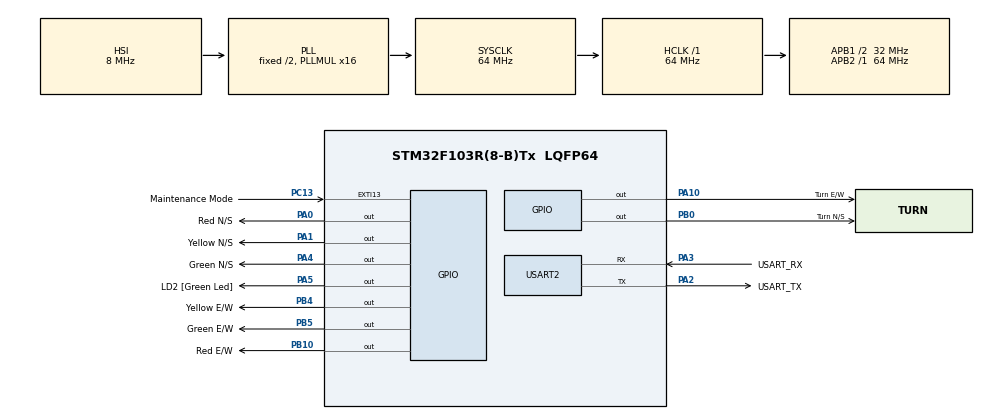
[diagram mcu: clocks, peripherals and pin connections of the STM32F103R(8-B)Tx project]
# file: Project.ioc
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FREERTOS.Queues01=CLI_Queue,1,uint8_t,0,Dynamic,NULL,NULL;ped_Queue,4,uint8_t,0,Dynamic,NULL,NULL;Maintenance_Queue,1,uint8_t,0,Dynamic,NULL,NULL;Emergency_Queue,1,uint8_t,0,Dynamic,NULL,NULL
FREERTOS.Tasks01=CLI_Input,24,128,Start_CLI_Input,Default,NULL,Dynamic,NULL,NULL;Change_Light,32,128,Start_Change_Light,Default,NULL,Dynamic,NULL,NULL;CLI_Update,8,128,Start_CLI_Update,Default,NULL,Dynamic,NULL,NULL
Mcu.Family=STM32F1
Mcu.Name=STM32F103R(8-B)Tx
Mcu.Package=LQFP64
NVIC.EXTI15_10_IRQn=true\:5\:0\:false\:false\:true\:true\:true\:true\:true
NVIC.PriorityGroup=NVIC_PRIORITYGROUP_4
NVIC.TIM4_IRQn=true\:15\:0\:false\:false\:true\:false\:false\:true\:true
NVIC.TimeBase=TIM4_IRQn
NVIC.TimeBaseIP=TIM4
NVIC.USART2_IRQn=true\:5\:0\:false\:false\:true\:true\:true\:true\:true
PA0-WKUP.GPIO_Label=Red N/S
PA0-WKUP.Signal=GPIO_Output
PA1.GPIO_Label=Yellow N/S
PA1.Signal=GPIO_Output
PA10.GPIO_Label=Turn E/W
PA10.Signal=GPIO_Output
PA13.GPIO_Label=TMS
PA13.Mode=Serial_Wire
PA13.Signal=SYS_JTMS-SWDIO
PA14.GPIO_Label=TCK
PA14.Mode=Serial_Wire
PA14.Signal=SYS_JTCK-SWCLK
PA2.GPIO_Label=USART_TX
PA2.GPIO_Mode=GPIO_MODE_AF_PP
PA2.GPIO_PuPd=GPIO_NOPULL
PA2.GPIO_Speed=GPIO_SPEED_FREQ_LOW
PA2.Mode=Asynchronous
PA2.Signal=USART2_TX
PA3.GPIO_Label=USART_RX
PA3.GPIO_Mode=GPIO_MODE_AF_PP
PA3.GPIO_PuPd=GPIO_NOPULL
PA3.GPIO_Speed=GPIO_SPEED_FREQ_LOW
PA3.Mode=Asynchronous
PA3.Signal=USART2_RX
PA4.GPIO_Label=Green N/S
PA4.Signal=GPIO_Output
PA5.GPIO_Label=LD2 [Green Led]
PA5.GPIO_ModeDefaultOutputPP=GPIO_MODE_OUTPUT_PP
PA5.GPIO_PuPd=GPIO_NOPULL
PA5.GPIO_Speed=GPIO_SPEED_FREQ_LOW
PA5.Signal=GPIO_Output
PB0.GPIO_Label=Turn N/S
PB0.Signal=GPIO_Output
PB10.GPIO_Label=Red E/W
PB10.Signal=GPIO_Output
PB3.GPIO_Label=SWO
PB3.Signal=SYS_JTDO-TRACESWO
PB4.GPIO_Label=Yellow E/W
PB4.Signal=GPIO_Output
PB5.GPIO_Label=Green E/W
PB5.Signal=GPIO_Output
PC13-TAMPER-RTC.GPIO_Label=Maintenance Mode
PC13-TAMPER-RTC.GPIO_ModeDefaultEXTI=GPIO_MODE_IT_FALLING
PC13-TAMPER-RTC.Signal=GPXTI13
PC14-OSC32_IN.Mode=LSE-External-Oscillator
PC14-OSC32_IN.Signal=RCC_OSC32_IN
PC15-OSC32_OUT.Mode=LSE-External-Oscillator
PC15-OSC32_OUT.Signal=RCC_OSC32_OUT
PD0-OSC_IN.Mode=HSE-External-Clock-Source
PD0-OSC_IN.Signal=RCC_OSC_IN
PD1-OSC_OUT.Mode=HSE-External-Clock-Source
PD1-OSC_OUT.Signal=RCC_OSC_OUT
ProjectManager.HeapSize=0x200
ProjectManager.StackSize=0x400
ProjectManager.TargetToolchain=STM32CubeIDE
RCC.AHBFreq_Value=64000000
RCC.APB1CLKDivider=RCC_HCLK_DIV2
RCC.APB1Freq_Value=32000000
RCC.APB1TimFreq_Value=64000000
RCC.APB2Freq_Value=64000000
RCC.APB2TimFreq_Value=64000000
RCC.HCLKFreq_Value=64000000
RCC.PLLMUL=RCC_PLL_MUL16
RCC.RTCClockSelection=RCC_RTCCLKSOURCE_LSE
RCC.SYSCLKFreq_VALUE=64000000
RCC.SYSCLKSource=RCC_SYSCLKSOURCE_PLLCLK
RCC.USBFreq_Value=64000000
USART2.VirtualMode=VM_ASYNC
VP_FREERTOS_VS_CMSIS_V2.Mode=CMSIS_V2
VP_SYS_VS_tim4.Mode=TIM4
board=NUCLEO-F103RB

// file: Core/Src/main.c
/* USER CODE BEGIN Header */
/**
******************************************************************************
* @file           : main.c
* @brief          : Main program body
* Author: 		  : Quinn Maloney
* SID:			  : 200431628
* Demo:			  : https://www.youtube.com/watch?v=MVhOJU_bmV4
* 					Can also be found in ReadMe.txt and on URCourses.
******************************************************************************
* @attention
*
* Copyright (c) 2024 STMicroelectronics.
* All rights reserved.
*
* This software is licensed under terms that can be found in the LICENSE file
* in the root directory of this software component.
* If no LICENSE file comes with this software, it is provided AS-IS.
*
******************************************************************************
*/
/* USER CODE END Header */
#include "main.h"
#include "cmsis_os.h"

/* USER CODE BEGIN Includes */
#include "CLI.h"
#include "lights.h"

/* USER CODE END Includes */

UART_HandleTypeDef huart2;

/* Definitions for CLI_Input */
osThreadId_t CLI_InputHandle;
const osThreadAttr_t CLI_Input_attributes = {
  .name = "CLI_Input",
  .stack_size = 128 * 4,
  .priority = (osPriority_t) osPriorityNormal,
};
/* Definitions for Change_Light */
osThreadId_t Change_LightHandle;
const osThreadAttr_t Change_Light_attributes = {
  .name = "Change_Light",
  .stack_size = 128 * 4,
  .priority = (osPriority_t) osPriorityAboveNormal,
};
/* Definitions for CLI_Update */
osThreadId_t CLI_UpdateHandle;
const osThreadAttr_t CLI_Update_attributes = {
  .name = "CLI_Update",
  .stack_size = 128 * 4,
  .priority = (osPriority_t) osPriorityLow,
};
/* Definitions for CLI_Queue */
osMessageQueueId_t CLI_QueueHandle;
const osMessageQueueAttr_t CLI_Queue_attributes = {
  .name = "CLI_Queue"
};
/* Definitions for ped_Queue */
osMessageQueueId_t ped_QueueHandle;
const osMessageQueueAttr_t ped_Queue_attributes = {
  .name = "ped_Queue"
};
/* Definitions for Maintenance_Queue */
osMessageQueueId_t Maintenance_QueueHandle;
const osMessageQueueAttr_t Maintenance_Queue_attributes = {
  .name = "Maintenance_Queue"
};
/* Definitions for Emergency_Queue */
osMessageQueueId_t Emergency_QueueHandle;
const osMessageQueueAttr_t Emergency_Queue_attributes = {
  .name = "Emergency_Queue"
};

void SystemClock_Config(void);
static void MX_GPIO_Init(void);
static void MX_USART2_UART_Init(void);
void Start_CLI_Input(void *argument);
void Start_Change_Light(void *argument);
void Start_CLI_Update(void *argument);

/* USER CODE BEGIN PFP */

uint8_t cliRXChar;
uint8_t cliBufferRX[30];
int counter = 0;
uint8_t maintenance = 0;

/* USER CODE END PFP */

int main(void)
{

  /* MCU Configuration--------------------------------------------------------*/

  /* Reset of all peripherals, Initializes the Flash interface and the Systick. */
  HAL_Init();

  /* Configure the system clock */
  SystemClock_Config();

  /* Initialize all configured peripherals */
  MX_GPIO_Init();
  MX_USART2_UART_Init();
  /* USER CODE BEGIN 2 */

  // this initializes the program. It prepares the usart buffer to receive characters and prints to the terminal to set it up for use
  HAL_UART_Receive_IT (&huart2, &cliRXChar, 1);
  char newLineMessage[] = "Enter a command: ";
  char scrollBox[] = "\x1b[5;r";
  char initialMoveCursor[] = "\x1b[5;0H";

  for(int x = 0; x < sizeof initialMoveCursor; x++)
  	  HAL_UART_Transmit(&huart2, (unsigned char *)&initialMoveCursor[x], 1, 100);
  for(int x = 0; x < sizeof scrollBox; x++)
  	  HAL_UART_Transmit(&huart2, (unsigned char *)&scrollBox[x], 1, 100);
  for(int x = 0; x < sizeof initialMoveCursor; x++)
	  HAL_UART_Transmit(&huart2, (unsigned char *)&initialMoveCursor[x], 1, 100);
  for(int x = 0; x < sizeof newLineMessage; x++)
  	  HAL_UART_Transmit(&huart2, (unsigned char *)&newLineMessage[x], 1, 100);
  /* USER CODE END 2 */

  /* Init scheduler */
  osKernelInitialize();

  /* Create the queue(s) */
  /* creation of CLI_Queue */
  CLI_QueueHandle = osMessageQueueNew (1, sizeof(uint8_t), &CLI_Queue_attributes);

  /* creation of ped_Queue */
  ped_QueueHandle = osMessageQueueNew (4, sizeof(uint8_t), &ped_Queue_attributes);

  /* creation of Maintenance_Queue */
  Maintenance_QueueHandle = osMessageQueueNew (1, sizeof(uint8_t), &Maintenance_Queue_attributes);

  /* creation of Emergency_Queue */
  Emergency_QueueHandle = osMessageQueueNew (1, sizeof(uint8_t), &Emergency_Queue_attributes);

  /* Create the thread(s) */
  /* creation of CLI_Input */
  CLI_InputHandle = osThreadNew(Start_CLI_Input, NULL, &CLI_Input_attributes);

  /* creation of Change_Light */
  Change_LightHandle = osThreadNew(Start_Change_Light, NULL, &Change_Light_attributes);

  /* creation of CLI_Update */
  CLI_UpdateHandle = osThreadNew(Start_CLI_Update, NULL, &CLI_Update_attributes);

  /* Start scheduler */
  osKernelStart();

  /* We should never get here as control is now taken by the scheduler */

  /* Infinite loop */
  while (1)
  {

  }
}

void SystemClock_Config(void)
{
  RCC_OscInitTypeDef RCC_OscInitStruct = {0};
  RCC_ClkInitTypeDef RCC_ClkInitStruct = {0};

  /** Initializes the RCC Oscillators according to the specified parameters
  * in the RCC_OscInitTypeDef structure.
  */
  RCC_OscInitStruct.OscillatorType = RCC_OSCILLATORTYPE_HSI;
  RCC_OscInitStruct.HSIState = RCC_HSI_ON;
  RCC_OscInitStruct.HSICalibrationValue = RCC_HSICALIBRATION_DEFAULT;
  RCC_OscInitStruct.PLL.PLLState = RCC_PLL_ON;
  RCC_OscInitStruct.PLL.PLLSource = RCC_PLLSOURCE_HSI_DIV2;
  RCC_OscInitStruct.PLL.PLLMUL = RCC_PLL_MUL16;
  if (HAL_RCC_OscConfig(&RCC_OscInitStruct) != HAL_OK)
  {
    Error_Handler();
  }

  /** Initializes the CPU, AHB and APB buses clocks
  */
  RCC_ClkInitStruct.ClockType = RCC_CLOCKTYPE_HCLK|RCC_CLOCKTYPE_SYSCLK
                              |RCC_CLOCKTYPE_PCLK1|RCC_CLOCKTYPE_PCLK2;
  RCC_ClkInitStruct.SYSCLKSource = RCC_SYSCLKSOURCE_PLLCLK;
  RCC_ClkInitStruct.AHBCLKDivider = RCC_SYSCLK_DIV1;
  RCC_ClkInitStruct.APB1CLKDivider = RCC_HCLK_DIV2;
  RCC_ClkInitStruct.APB2CLKDivider = RCC_HCLK_DIV1;

  if (HAL_RCC_ClockConfig(&RCC_ClkInitStruct, FLASH_LATENCY_2) != HAL_OK)
  {
    Error_Handler();
  }
}

static void MX_USART2_UART_Init(void)
{

  huart2.Instance = USART2;
  huart2.Init.BaudRate = 115200;
  huart2.Init.WordLength = UART_WORDLENGTH_8B;
  huart2.Init.StopBits = UART_STOPBITS_1;
  huart2.Init.Parity = UART_PARITY_NONE;
  huart2.Init.Mode = UART_MODE_TX_RX;
  huart2.Init.HwFlowCtl = UART_HWCONTROL_NONE;
  huart2.Init.OverSampling = UART_OVERSAMPLING_16;
  if (HAL_UART_Init(&huart2) != HAL_OK)
  {
    Error_Handler();
  }

}

static void MX_GPIO_Init(void)
{
  GPIO_InitTypeDef GPIO_InitStruct = {0};

  /* GPIO Ports Clock Enable */
  __HAL_RCC_GPIOC_CLK_ENABLE();
  __HAL_RCC_GPIOD_CLK_ENABLE();
  __HAL_RCC_GPIOA_CLK_ENABLE();
  __HAL_RCC_GPIOB_CLK_ENABLE();

  /*Configure GPIO pin Output Level */
  HAL_GPIO_WritePin(GPIOA, Red_N_S_Pin|Yellow_N_S_Pin|Green_N_S_Pin|LD2_Pin
                          |Turn_E_W_Pin, GPIO_PIN_RESET);

  /*Configure GPIO pin Output Level */
  HAL_GPIO_WritePin(GPIOB, Turn_N_S_Pin|Red_E_W_Pin|Yellow_E_W_Pin|Green_E_W_Pin, GPIO_PIN_RESET);

  /*Configure GPIO pin : Maintenance_Mode_Pin */
  GPIO_InitStruct.Pin = Maintenance_Mode_Pin;
  GPIO_InitStruct.Mode = GPIO_MODE_IT_FALLING;
  GPIO_InitStruct.Pull = GPIO_NOPULL;
  HAL_GPIO_Init(Maintenance_Mode_GPIO_Port, &GPIO_InitStruct);

  /*Configure GPIO pins : Red_N_S_Pin Yellow_N_S_Pin Green_N_S_Pin LD2_Pin
                           Turn_E_W_Pin */
  GPIO_InitStruct.Pin = Red_N_S_Pin|Yellow_N_S_Pin|Green_N_S_Pin|LD2_Pin
                          |Turn_E_W_Pin;
  GPIO_InitStruct.Mode = GPIO_MODE_OUTPUT_PP;
  GPIO_InitStruct.Pull = GPIO_NOPULL;
  GPIO_InitStruct.Speed = GPIO_SPEED_FREQ_LOW;
  HAL_GPIO_Init(GPIOA, &GPIO_InitStruct);

  /*Configure GPIO pins : Turn_N_S_Pin Red_E_W_Pin Yellow_E_W_Pin Green_E_W_Pin */
  GPIO_InitStruct.Pin = Turn_N_S_Pin|Red_E_W_Pin|Yellow_E_W_Pin|Green_E_W_Pin;
  GPIO_InitStruct.Mode = GPIO_MODE_OUTPUT_PP;
  GPIO_InitStruct.Pull = GPIO_NOPULL;
  GPIO_InitStruct.Speed = GPIO_SPEED_FREQ_LOW;
  HAL_GPIO_Init(GPIOB, &GPIO_InitStruct);

  /* EXTI interrupt init*/
  HAL_NVIC_SetPriority(EXTI15_10_IRQn, 5, 0);
  HAL_NVIC_EnableIRQ(EXTI15_10_IRQn);

}

/* USER CODE BEGIN 4 */
/**
* @brief  Function implementing the USART interrupt. It stores the character received in a buffer.
* @param  husart: the pin used in this case HUSART2
* @retval None
*/
void HAL_UART_RxCpltCallback(UART_HandleTypeDef * husart)
{
	while((HAL_UART_GetState(&huart2)&HAL_UART_STATE_BUSY_RX)==HAL_UART_STATE_BUSY_RX);
	//Listen for the interrupt and buffer one character at a time.
	HAL_UART_Receive_IT(&huart2, &cliRXChar ,1);
}

/**
* @brief  Function implementing the GPIOC pin 13 interrupt (user button). It sends a value to the maintenance
* 		queue to notify the Change_Light thread.
* @param  GPIO_Pin: the in causing the interrupt. In this case GPIOC pin 13
* @retval None
*/
void HAL_GPIO_EXTI_Callback(uint16_t GPIO_Pin)
{
	if(GPIO_Pin == GPIO_PIN_13)
	{
		if(maintenance == 0)
		{
			maintenance = 1;
			xQueueGenericSendFromISR(Maintenance_QueueHandle, &maintenance, pdTRUE, NULL);
		}
		else
		{
			maintenance = 0;
			xQueueGenericSendFromISR(Maintenance_QueueHandle, &maintenance, pdTRUE, NULL);
		}
	}
}

/* USER CODE END 4 */

/* USER CODE BEGIN Header_Start_CLI_Input */
/**
* @brief  Function implementing the CLI_Input thread. It is responsible for updating the terminal with the user
* 		input and handling it accordingly. When a pedestrian event is requested it puts that in the ped queue
* 		and when an emergency vehicle is requested it puts that in the Emergency queue. This queue is used by
* 		the Change_Light thread.
* @param  argument: Not used
* @retval None
*/
/* USER CODE END Header_Start_CLI_Input */
void Start_CLI_Input(void *argument)
{
  /* USER CODE BEGIN 5 */
  uint8_t input = 0;
  /* Infinite loop */
  for(;;)
  {
	if(cliRXChar != '\0')
	{
		input = CLI_Receive();
		if(input == 1 || input == 2)
			osMessageQueuePut(ped_QueueHandle, &input, 0, 500);
		else if(input == 3 || input == 4)
			osMessageQueuePut(Emergency_QueueHandle, &input, 0, 500);
	}
    osDelay(100);
  }
  /* USER CODE END 5 */
}

/* USER CODE BEGIN Header_Start_Change_Light */
/**
* @brief Function implementing the Change_Light thread. This is responsible for changing the light state. This
* 		 includes both updating the internal state and changing the physical lights to match the state. It does
* 		 not update the CLI state however. For that it sends a message to the CLI queue where it is handled by
* 		 the CLI_Update thread. Emergency state is also checked in this thread where the states are frozen
* 		 temporarily.
* @param argument: Not used
* @retval None
*/
/* USER CODE END Header_Start_Change_Light */
void Start_Change_Light(void *argument)
{
  /* USER CODE BEGIN Start_Change_Light */
  uint8_t lightState = 0;
  uint8_t newLightState = 0;
  uint16_t lightCounter = 0;
  uint8_t pedestrian = 0;
  uint8_t pedestrianNS = 0;
  uint8_t pedestrianEW = 0;
  uint8_t emergency = 0;
  uint8_t emergencyNS = 0;
  uint8_t emergencyEW = 0;
  uint8_t isMaintenance = 0;
  /* Infinite loop */
  for(;;)
  {
	osMessageQueueGet(Maintenance_QueueHandle, &isMaintenance, NULL, 200);
	if(isMaintenance == 1)
	{
		startMaintenanceMode();
		lightState = 0;
		newLightState = 0;
		counter = 0;
		isMaintenance = 2;
	}
	if(isMaintenance == 2)
		maintenanceMode();
	else
	{
		osMessageQueueGet(ped_QueueHandle, &pedestrian, NULL, 200);
		if(pedestrian == 1)
			pedestrianNS = 1;
		if(pedestrian == 2)
			pedestrianEW = 1;
		osMessageQueueGet(Emergency_QueueHandle, &emergency, NULL, 200);
		if(emergency == 3)
			emergencyNS = 1;
		if(emergency == 4)
			emergencyEW = 1;
		newLightState = lightStateChange(lightState, lightCounter, pedestrianNS, pedestrianEW, emergencyNS, emergencyEW);
		if (newLightState != lightState)
		{
			lightState = newLightState;
			osMessageQueuePut(CLI_QueueHandle, &lightState, 0, 500);
			lightCounter = 0;
			if(lightState == 0 || lightState == 4)
			{
				pedestrian = 0;
				pedestrianNS = 0;
				pedestrianEW = 0;
			}
			emergency = 0;
			emergencyNS = 0;
			emergencyEW = 0;
		}
		else
			lightCounter++;
		lightPhysicalChange(lightState);
	}
    osDelay(500);
  }
  /* USER CODE END Start_Change_Light */
}

/* USER CODE BEGIN Header_Start_CLI_Update */
/**
* @brief Function implementing the CLI_Update thread. It is responsible for updating the status of the terminal.
* 		 This is only fully executed on a state change which is indicated by the data in the CLI queue from the
* 		 Change_Light thread.
* @param argument: Not used
* @retval None
*/
/* USER CODE END Header_Start_CLI_Update */
void Start_CLI_Update(void *argument)
{
  /* USER CODE BEGIN Start_CLI_Update */
  uint8_t newState = 0;
  uint8_t lightState = 7;
  /* Infinite loop */
  for(;;)
  {
	osMessageQueueGet(CLI_QueueHandle, &newState, NULL, 200);
	if (newState != lightState)
	{
		lightState = newState;
		CLI_Display(lightState);
	}
    osDelay(100);
  }
  /* USER CODE END Start_CLI_Update */
}

void HAL_TIM_PeriodElapsedCallback(TIM_HandleTypeDef *htim)
{
  if (htim->Instance == TIM4) {
    HAL_IncTick();
  }
}

void Error_Handler(void)
{
  __disable_irq();
  while (1)
  {
  }
}
